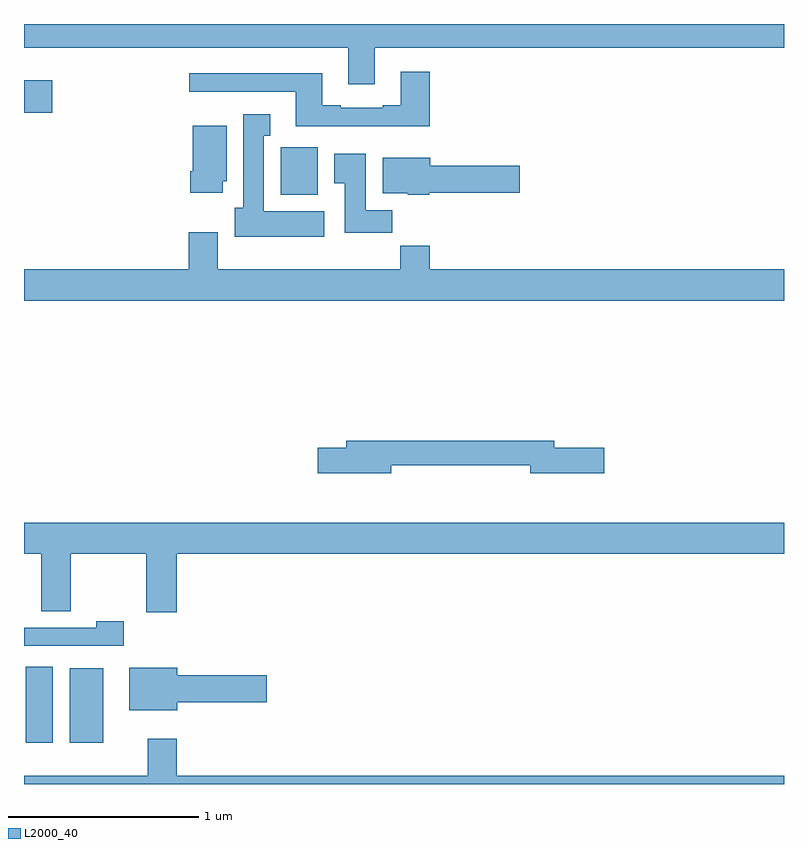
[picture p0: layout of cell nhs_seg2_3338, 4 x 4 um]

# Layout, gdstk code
import gdstk
lib = gdstk.Library(unit=1e-6, precision=1e-09)
def R(c, l, rs):  # rectangles x0, y0, x1, y1
    for r in rs: c.add(gdstk.rectangle(r[:2], r[2:], *l))
def P(c, l, *ps):  # polygons
    for p in ps: c.add(gdstk.Polygon(p, *l))
L2000_40 = (2000, 40)

nhs_seg2_3338 = lib.new_cell('nhs_seg2_3338')
R(nhs_seg2_3338, L2000_40, [(287.009,604.016,287.152,604.417), (287.24,604.016,287.416,604.408), (288.351,606.902,288.547,607.152), (287,607.334,287.149,607.504)])
P(nhs_seg2_3338, L2000_40, [(288.847,607.676),(291,607.676),(291,607.8),(287,607.8),(287,607.676),(288.707,607.676),(288.707,607.482),(288.847,607.482)],
  [(289.136,607.549),(288.983,607.549),(288.983,607.372),(288.887,607.372),(288.887,607.359),(288.667,607.359),(288.667,607.372),(288.571,607.372),(288.571,607.54),(287.871,607.54),(287.871,607.443),(288.431,607.443),(288.431,607.262),(289.136,607.262)],
  [(288.58,606.814),(288.262,606.814),(288.262,607.211),(288.295,607.211),(288.295,607.324),(288.155,607.324),(288.155,606.834),(288.11,606.834),(288.11,606.68),(288.58,606.68)],
  [(288.046,606.972),(288.067,606.972),(288.067,607.264),(287.888,607.264),(287.888,607.024),(287.876,607.024),(287.876,606.912),(288.046,606.912)],
  [(288.938,606.82),(288.799,606.82),(288.799,607.117),(288.632,607.117),(288.632,606.961),(288.689,606.961),(288.689,606.702),(288.938,606.702)],
  [(289.134,606.913),(289.609,606.913),(289.609,607.055),(289.138,607.055),(289.138,607.096),(288.887,607.096),(288.887,606.908),(289.02,606.908),(289.02,606.902),(289.134,606.902)],
  [(291,606.508),(289.136,606.508),(289.136,606.632),(288.979,606.632),(288.979,606.508),(288.019,606.508),(288.019,606.703),(287.867,606.703),(287.867,606.508),(287,606.508),(287,606.344),(291,606.344)],
  [(288.934,605.478),(289.664,605.478),(289.664,605.435),(290.053,605.435),(290.053,605.57),(289.792,605.57),(289.792,605.606),(288.695,605.606),(288.695,605.57),(288.546,605.57),(288.546,605.435),(288.934,605.435)],
  [(287.804,605.012),(291,605.012),(291,605.176),(287,605.176),(287,605.012),(287.092,605.012),(287.092,604.708),(287.246,604.708),(287.246,605.012),(287.644,605.012),(287.644,604.704),(287.804,604.704)],
  [(287.524,604.656),(287.379,604.656),(287.379,604.623),(287,604.623),(287,604.527),(287.524,604.527)],
  [(287.806,604.231),(288.277,604.231),(288.277,604.373),(287.806,604.373),(287.806,604.411),(287.555,604.411),(287.555,604.187),(287.806,604.187)],
  [(291,603.844),(287.804,603.844),(287.804,604.039),(287.651,604.039),(287.651,603.844),(287,603.844),(287,603.8),(291,603.8)])

lib.write_gds('nhs_seg2_3338.gds')
